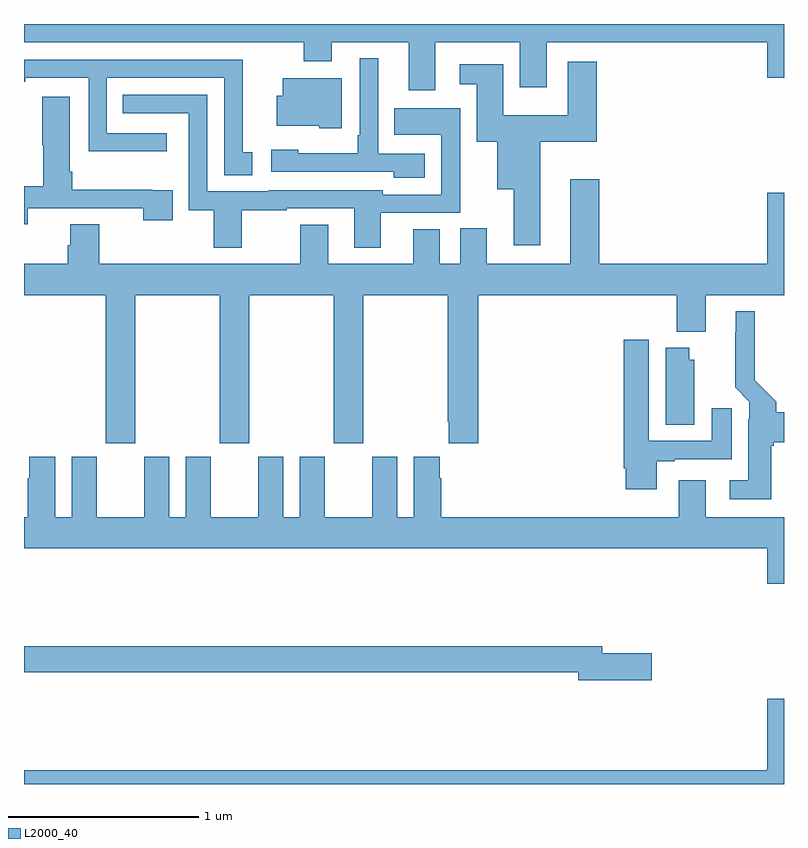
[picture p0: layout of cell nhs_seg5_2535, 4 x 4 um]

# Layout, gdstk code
import gdstk
lib = gdstk.Library(unit=1e-6, precision=1e-09)
def P(c, l, *ps):  # polygons
    for p in ps: c.add(gdstk.Polygon(p, *l))
L2000_40 = (2000, 40)

nhs_seg5_2535 = lib.new_cell('nhs_seg5_2535')
P(nhs_seg5_2535, L2000_40, [(259.165,912.704),(259.61,912.704),(259.61,912.465),(259.75,912.465),(259.75,912.704),(260.912,912.704),(260.912,912.516),(261,912.516),(261,912.799),(257,912.799),(257,912.704),(258.472,912.704),(258.472,912.602),(258.619,912.602),(258.619,912.704),(259.025,912.704),(259.025,912.45),(259.165,912.45)],
  [(259.108,912.117),(258.864,912.117),(258.864,912.619),(258.768,912.619),(258.768,912.214),(258.756,912.214),(258.756,912.118),(258.444,912.118),(258.444,912.136),(258.3,912.136),(258.3,912.021),(258.947,912.021),(258.947,911.99),(259.108,911.99)],
  [(258.202,912.123),(258.151,912.123),(258.151,912.612),(257,912.612),(257,912.496),(257.006,912.496),(257.006,912.516),(257.34,912.516),(257.34,912.128),(257.752,912.128),(257.752,912.225),(257.436,912.225),(257.436,912.516),(258.054,912.516),(258.054,912.004),(258.202,912.004)],
  [(259.717,912.179),(260.015,912.179),(260.015,912.601),(259.862,912.601),(259.862,912.319),(259.522,912.319),(259.522,912.586),(259.293,912.586),(259.293,912.482),(259.382,912.482),(259.382,912.179),(259.49,912.179),(259.49,911.93),(259.577,911.93),(259.577,911.634),(259.717,911.634)],
  [(258.673,912.514),(258.362,912.514),(258.362,912.421),(258.329,912.421),(258.329,912.263),(258.555,912.263),(258.555,912.251),(258.673,912.251)],
  [(258.877,911.805),(259.295,911.805),(259.295,912.355),(258.949,912.355),(258.949,912.215),(259.197,912.215),(259.197,911.901),(258.888,911.901),(258.888,911.925),(258.288,911.925),(258.288,911.919),(257.964,911.919),(257.964,912.426),(257.521,912.426),(257.521,912.33),(257.868,912.33),(257.868,911.818),(257.999,911.818),(257.999,911.622),(258.147,911.622),(258.147,911.818),(258.384,911.818),(258.384,911.829),(258.737,911.829),(258.737,911.621),(258.877,911.621)],
  [(257.02,911.829),(257.627,911.829),(257.627,911.766),(257.783,911.766),(257.783,911.925),(257.675,911.925),(257.675,911.927),(257.255,911.927),(257.255,912.022),(257.242,912.022),(257.242,912.415),(257.095,912.415),(257.095,912.162),(257.102,912.162),(257.102,911.945),(257,911.945),(257,911.744),(257.02,911.744)],
  [(257.586,911.372),(258.031,911.372),(258.031,910.593),(258.186,910.593),(258.186,911.372),(258.631,911.372),(258.631,910.593),(258.786,910.593),(258.786,911.372),(259.231,911.372),(259.231,910.705),(259.235,910.705),(259.235,910.593),(259.391,910.593),(259.391,911.372),(260.435,911.372),(260.435,911.18),(260.587,911.18),(260.587,911.372),(261,911.372),(261,911.911),(260.912,911.911),(260.912,911.536),(260.027,911.536),(260.027,911.983),(259.874,911.983),(259.874,911.536),(259.435,911.536),(259.435,911.724),(259.296,911.724),(259.296,911.536),(259.189,911.536),(259.189,911.72),(259.049,911.72),(259.049,911.536),(258.601,911.536),(258.601,911.743),(258.454,911.743),(258.454,911.536),(257.396,911.536),(257.396,911.744),(257.243,911.744),(257.243,911.634),(257.231,911.634),(257.231,911.536),(257,911.536),(257,911.372),(257.431,911.372),(257.431,910.593),(257.586,910.593)],
  [(260.932,910.578),(260.946,910.578),(260.946,910.598),(261,910.598),(261,910.756),(260.958,910.756),(260.958,910.811),(260.845,910.924),(260.845,911.287),(260.747,911.287),(260.747,911.177),(260.743,911.177),(260.743,910.886),(260.817,910.812),(260.817,910.718),(260.813,910.718),(260.813,910.399),(260.715,910.399),(260.715,910.298),(260.932,910.298)],
  [(260.329,910.497),(260.425,910.497),(260.425,910.509),(260.725,910.509),(260.725,910.777),(260.621,910.777),(260.621,910.605),(260.287,910.605),(260.287,911.137),(260.156,911.137),(260.156,910.462),(260.168,910.462),(260.168,910.35),(260.329,910.35)],
  [(260.527,911.031),(260.5,911.031),(260.5,911.095),(260.378,911.095),(260.378,910.69),(260.527,910.69)],
  [(261,910.204),(260.587,910.204),(260.587,910.399),(260.447,910.399),(260.447,910.204),(259.196,910.204),(259.196,910.409),(259.189,910.409),(259.189,910.522),(259.052,910.522),(259.052,910.204),(258.964,910.204),(258.964,910.522),(258.833,910.522),(258.833,910.204),(258.583,910.204),(258.583,910.522),(258.452,910.522),(258.452,910.204),(258.364,910.204),(258.364,910.522),(258.233,910.522),(258.233,910.204),(257.983,910.204),(257.983,910.522),(257.852,910.522),(257.852,910.204),(257.764,910.204),(257.764,910.522),(257.633,910.522),(257.633,910.204),(257.383,910.204),(257.383,910.522),(257.252,910.522),(257.252,910.204),(257.164,910.204),(257.164,910.522),(257.027,910.522),(257.027,910.409),(257.021,910.409),(257.021,910.204),(257,910.204),(257,910.04),(260.912,910.04),(260.912,909.852),(261,909.852)],
  [(260.305,909.488),(260.044,909.488),(260.044,909.524),(257,909.524),(257,909.388),(259.916,909.388),(259.916,909.346),(260.305,909.346)],
  [(261,909.247),(260.912,909.247),(260.912,908.872),(257,908.872),(257,908.799),(261,908.799)])

lib.write_gds('nhs_seg5_2535.gds')
